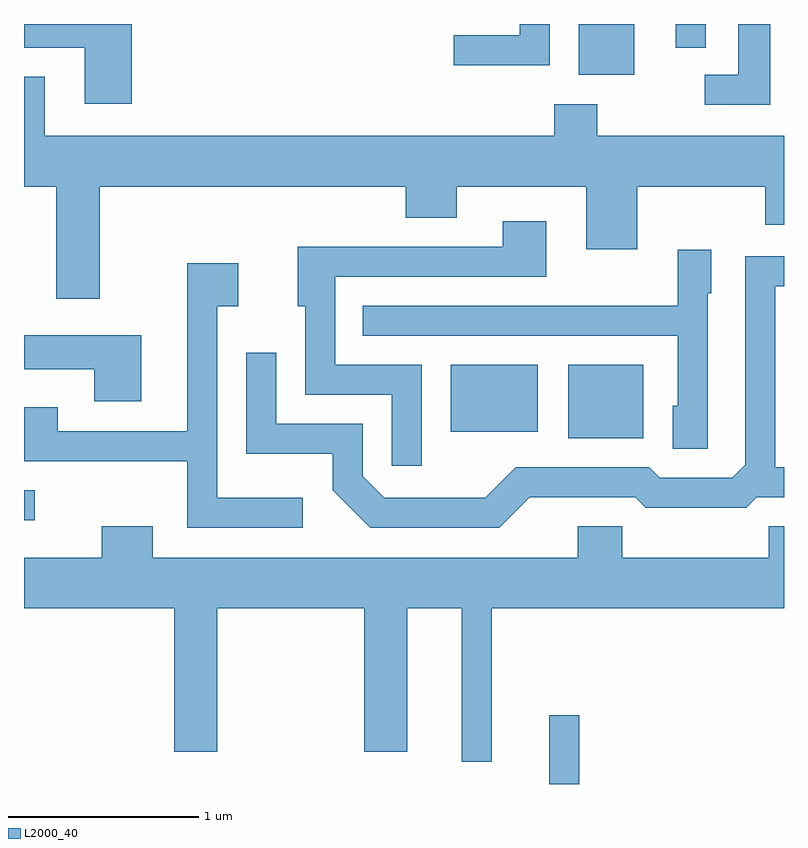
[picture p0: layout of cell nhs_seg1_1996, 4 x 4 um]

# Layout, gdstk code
import gdstk
lib = gdstk.Library(unit=1e-6, precision=1e-09)
def R(c, l, rs):  # rectangles x0, y0, x1, y1
    for r in rs: c.add(gdstk.rectangle(r[:2], r[2:], *l))
def P(c, l, *ps):  # polygons
    for p in ps: c.add(gdstk.Polygon(p, *l))
L2000_40 = (2000, 40)

nhs_seg1_1996 = lib.new_cell('nhs_seg1_1996')
R(nhs_seg1_1996, L2000_40, [(248.376,949.712,248.534,950.073), (245.611,951.101,245.668,951.259), (248.476,951.531,248.869,951.919), (247.856,951.566,248.314,951.919), (248.531,953.446,248.824,953.712), (249.041,953.588,249.199,953.712)])
P(nhs_seg1_1996, L2000_40, [(249.539,953.712),(249.371,953.712),(249.371,953.444),(249.193,953.444),(249.193,953.286),(249.539,953.286)],
  [(246.179,953.712),(245.611,953.712),(245.611,953.586),(245.931,953.586),(245.931,953.291),(246.179,953.291)],
  [(248.379,953.712),(248.221,953.712),(248.221,953.654),(247.873,953.654),(247.873,953.496),(248.379,953.496)],
  [(246.009,952.856),(247.621,952.856),(247.621,952.691),(247.889,952.691),(247.889,952.856),(248.571,952.856),(248.571,952.526),(248.839,952.526),(248.839,952.856),(249.511,952.856),(249.511,952.656),(249.611,952.656),(249.611,953.124),(248.629,953.124),(248.629,953.289),(248.401,953.289),(248.401,953.124),(245.719,953.124),(245.719,953.434),(245.611,953.434),(245.611,952.856),(245.781,952.856),(245.781,952.266),(246.009,952.266)],
  [(247.704,951.919),(247.249,951.919),(247.249,952.381),(248.359,952.381),(248.359,952.674),(248.131,952.674),(248.131,952.539),(247.051,952.539),(247.051,952.226),(247.091,952.226),(247.091,951.761),(247.546,951.761),(247.546,951.388),(247.704,951.388)],
  [(249.209,952.296),(249.229,952.296),(249.229,952.524),(249.051,952.524),(249.051,952.229),(247.393,952.229),(247.393,952.071),(249.051,952.071),(249.051,951.704),(249.026,951.704),(249.026,951.476),(249.209,951.476)],
  [(248.272,951.221),(248.829,951.221),(248.884,951.166),(249.412,951.166),(249.467,951.221),(249.611,951.221),(249.611,951.379),(249.564,951.379),(249.564,952.331),(249.611,952.331),(249.611,952.489),(249.406,952.489),(249.406,951.392),(249.339,951.324),(248.957,951.324),(248.902,951.379),(248.199,951.379),(248.039,951.219),(247.507,951.219),(247.394,951.332),(247.394,951.609),(246.939,951.609),(246.939,951.983),(246.781,951.983),(246.781,951.451),(247.236,951.451),(247.236,951.259),(247.434,951.061),(248.112,951.061)],
  [(247.078,951.219),(246.629,951.219),(246.629,952.226),(246.739,952.226),(246.739,952.454),(246.471,952.454),(246.471,951.569),(245.789,951.569),(245.789,951.694),(245.611,951.694),(245.611,951.411),(246.471,951.411),(246.471,951.061),(247.078,951.061)],
  [(246.229,952.074),(245.611,952.074),(245.611,951.896),(245.981,951.896),(245.981,951.726),(246.229,951.726)],
  [(246.289,951.069),(246.021,951.069),(246.021,950.904),(245.611,950.904),(245.611,950.636),(246.401,950.636),(246.401,949.881),(246.629,949.881),(246.629,950.636),(247.401,950.636),(247.401,949.881),(247.629,949.881),(247.629,950.636),(247.916,950.636),(247.916,949.828),(248.074,949.828),(248.074,950.636),(249.611,950.636),(249.611,951.069),(249.531,951.069),(249.531,950.904),(248.759,950.904),(248.759,951.069),(248.526,951.069),(248.526,950.904),(246.289,950.904)])

lib.write_gds('nhs_seg1_1996.gds')
